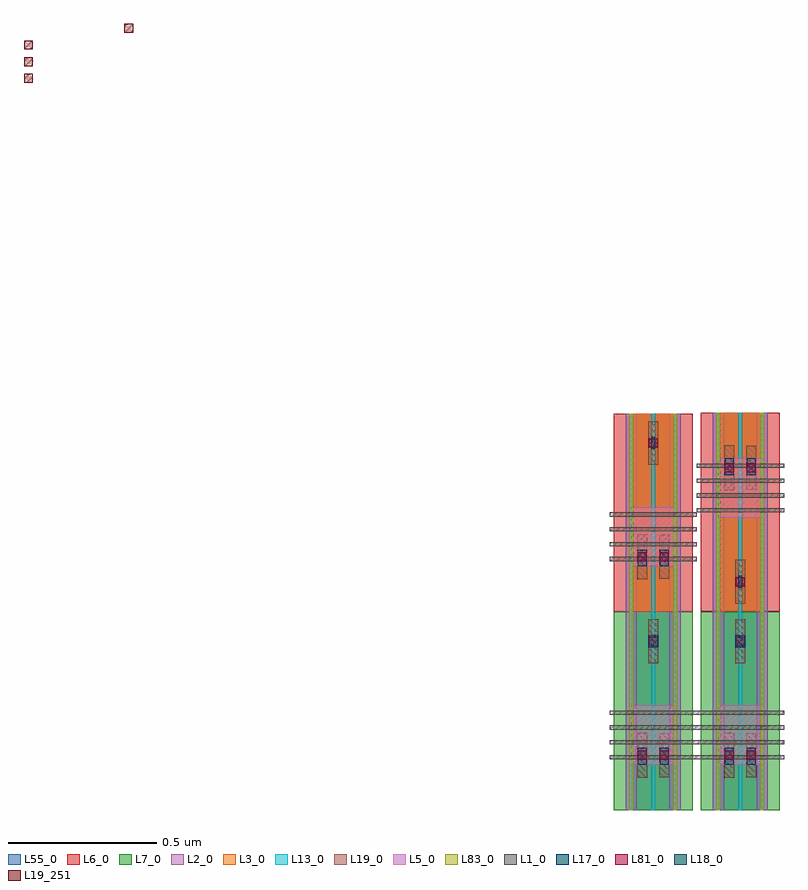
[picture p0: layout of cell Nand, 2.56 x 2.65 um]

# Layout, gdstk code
import gdstk
lib = gdstk.Library(unit=1e-6, precision=1e-09)
def R(c, l, rs):  # rectangles x0, y0, x1, y1
    for r in rs: c.add(gdstk.rectangle(r[:2], r[2:], *l))
def A(c, l, x, y, w, h, nx, ny, dx, dy):  # array of equal rectangles
    R(c, l, [(x+i*dx, y+j*dy, x+i*dx+w, y+j*dy+h) for i in range(nx) for j in range(ny)])
L1_0 = (1, 0)
L2_0 = (2, 0)
L3_0 = (3, 0)
L5_0 = (5, 0)
L6_0 = (6, 0)
L7_0 = (7, 0)
L13_0 = (13, 0)
L17_0 = (17, 0)
L18_0 = (18, 0)
L19_0 = (19, 0)
L19_251 = (19, 251)
L55_0 = (55, 0)
L81_0 = (81, 0)
L83_0 = (83, 0)

pfet_pcell_25bf = lib.new_cell('pfet_pcell_25bf')
A(pfet_pcell_25bf, L1_0, -0.14, 0, 0.294, 0.014, 1, 4, 0, 0.05)
R(pfet_pcell_25bf, L2_0, [(-0.086,-0.333,-0.048,0.335), (0.062,-0.333,0.1,0.335)])
R(pfet_pcell_25bf, L3_0, [(-0.067,-0.333,0.081,0.335)])
R(pfet_pcell_25bf, L5_0, [(-0.067,-0.018,0,0.182), (0,-0.018,0.014,0.182), (0.014,-0.018,0.081,0.182)])
R(pfet_pcell_25bf, L6_0, [(-0.126,-0.333,0.14,0.335)])
A(pfet_pcell_25bf, L13_0, -0.074, -0.333, 0.014, 0.668, 3, 1, 0.074, 0)
R(pfet_pcell_25bf, L13_0, [(-0.074,-0.333,-0.06,0.335), (0.074,-0.333,0.088,0.335)])
R(pfet_pcell_25bf, L17_0, [(-0.045,0.125,-0.015,0.182), (0.029,0.125,0.059,0.182)])
R(pfet_pcell_25bf, L18_0, [(0,-0.254,0.014,-0.214)])
R(pfet_pcell_25bf, L19_0, [(-0.01,-0.308,0.024,-0.16), (-0.01,-0.308,0.024,-0.16), (-0.047,0.074,-0.013,0.226), (-0.047,0.076,-0.013,0.224), (0.027,0.076,0.061,0.224), (0.027,0.08,0.061,0.22)])
R(pfet_pcell_25bf, L55_0, [(-0.067,-0.333,0.081,0.335)])
R(pfet_pcell_25bf, L81_0, [(-0.008,-0.249,0.022,-0.219), (-0.045,0.135,-0.015,0.165), (0.029,0.135,0.059,0.165)])
R(pfet_pcell_25bf, L83_0, [(-0.074,-0.333,-0.06,0.335), (0.074,-0.333,0.088,0.335)])

nfet_pcell_2935 = lib.new_cell('nfet_pcell_2935')
A(nfet_pcell_2935, L1_0, -0.14, 0, 0.294, 0.014, 1, 4, 0, 0.05)
R(nfet_pcell_2935, L2_0, [(-0.086,-0.333,-0.048,0.335), (0.062,-0.333,0.1,0.335)])
R(nfet_pcell_2935, L5_0, [(-0.067,-0.018,0,0.182), (0,-0.018,0.014,0.182), (0.014,-0.018,0.081,0.182)])
R(nfet_pcell_2935, L7_0, [(-0.126,-0.333,0.14,0.335)])
A(nfet_pcell_2935, L13_0, -0.074, -0.333, 0.014, 0.668, 3, 1, 0.074, 0)
R(nfet_pcell_2935, L13_0, [(-0.074,-0.333,-0.06,0.335), (0.074,-0.333,0.088,0.335)])
R(nfet_pcell_2935, L17_0, [(-0.045,0.125,-0.015,0.182), (0.029,0.125,0.059,0.182)])
R(nfet_pcell_2935, L18_0, [(-0.01,-0.254,0.024,-0.214)])
R(nfet_pcell_2935, L19_0, [(-0.01,-0.308,0.024,-0.16), (-0.01,-0.308,0.024,-0.16), (-0.047,0.074,-0.013,0.226), (-0.047,0.076,-0.013,0.224), (0.027,0.076,0.061,0.224), (0.027,0.08,0.061,0.22)])
R(nfet_pcell_2935, L55_0, [(-0.067,-0.333,0.081,0.335)])
R(nfet_pcell_2935, L81_0, [(-0.008,-0.249,0.022,-0.219), (-0.045,0.135,-0.015,0.165), (0.029,0.135,0.059,0.165)])
R(nfet_pcell_2935, L83_0, [(-0.074,-0.333,-0.06,0.335), (0.074,-0.333,0.088,0.335)])

nand = lib.new_cell('Nand')
A(nand, L19_251, -1.819, 0.78, 0.03, 0.03, 1, 3, 0, 0.056)
R(nand, L19_251, [(-1.481,0.948,-1.451,0.978)])
nand.add(gdstk.Reference(pfet_pcell_25bf, (0.294,-0.668), x_reflection=True))
nand.add(gdstk.Reference(pfet_pcell_25bf, (0.588,-0.668)))
nand.add(gdstk.Reference(nfet_pcell_2935, (0.588,-1.336), x_reflection=True))
nand.add(gdstk.Reference(nfet_pcell_2935, (0.294,-1.336), x_reflection=True))

lib.write_gds('Nand.gds')
